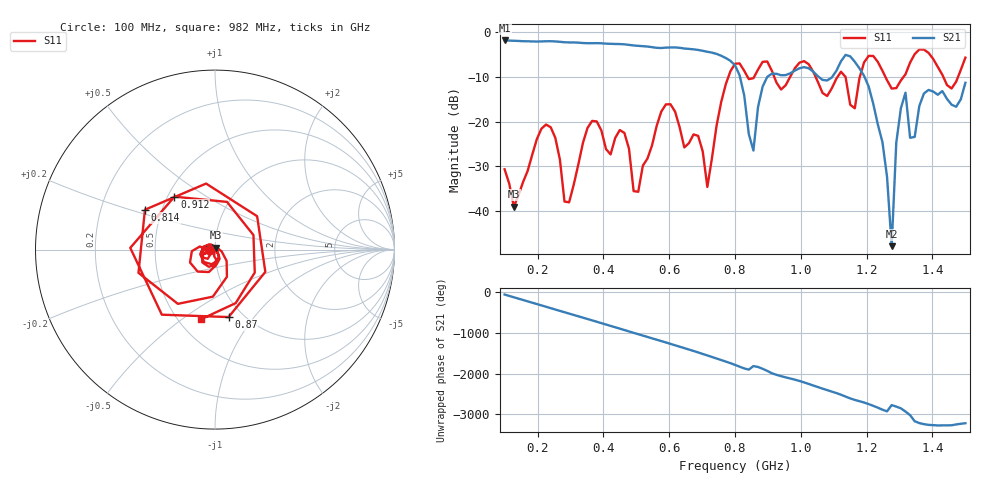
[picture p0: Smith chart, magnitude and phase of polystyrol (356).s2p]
! NanoVNA-App
! Date: 2025-09-25 15:32:39
! Start: 100MHz Stop: 1,5GHz Points: 101
! S-Parameter data: F S11 S21 S12 S22
# Hz S RI R 50
!  Frequency  S11_Real  S11_Imag  S21_Real  S21_Imag  S12_Real  S12_Imag  S22_Real  S22_Imag
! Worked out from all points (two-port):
!   101 points, 100 MHz to 1.5 GHz, reference 50 ohm
!   highest |S21| = -1.80 dB at 100 MHz (marker M1); lowest = -47.9 dB at 1.276 GHz (marker M2)
!   |S21| within 3 dB of the highest: start of sweep to 743.2 MHz
!   lowest |S11| = -39.0 dB at 128 MHz (marker M3), VSWR 1.02, Z = 50.3 + j1.07 ohm
!   |S11| at or under -10 dB: start of sweep to 779.8 MHz; 1.045 GHz to 1.111 GHz (66.26 MHz wide, 6.15 % of centre); 1.136 GHz to 1.179 GHz (43.22 MHz wide, 3.73 % of centre) (the widest 3 of 7)
!   S12 and S22 are empty: the file has one direction only
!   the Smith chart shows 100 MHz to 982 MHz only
!   S11 on the Smith chart (normalised r, x): 100 MHz: 0.94, -0.01; 814 MHz: 0.40, +0.22; 870 MHz: 0.86, -0.75; 912 MHz: 0.54, +0.37; 982 MHz: 0.64, -0.59
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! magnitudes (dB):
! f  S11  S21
! 100 MHz  -30.7  -1.8
! 128 MHz  -39.0  -1.9
! 212 MHz  -21.6  -2.0
! 282 MHz  -37.9  -2.2
! 338 MHz  -24.8  -2.4
! 464 MHz  -22.5  -2.7
! 506 MHz  -35.7  -3.0
! 576 MHz  -17.8  -3.5
! 716 MHz  -34.7  -4.3
! 800 MHz  -7.0  -7.4
! 814 MHz  -7.0  -9.6
! 856 MHz  -10.3  -26.5
! 870 MHz  -8.3  -16.7
! 912 MHz  -8.6  -9.3
! 982 MHz  -8.0  -8.5
! 1.038 GHz  -8.8  -8.8
! 1.192 GHz  -6.7  -9.7
! 1.248 GHz  -8.6  -24.6
! 1.276 GHz  -12.6  -47.9
! 1.29 GHz  -12.5  -24.7
! 1.318 GHz  -9.4  -13.5
! 1.5 GHz  -5.7  -11.3
